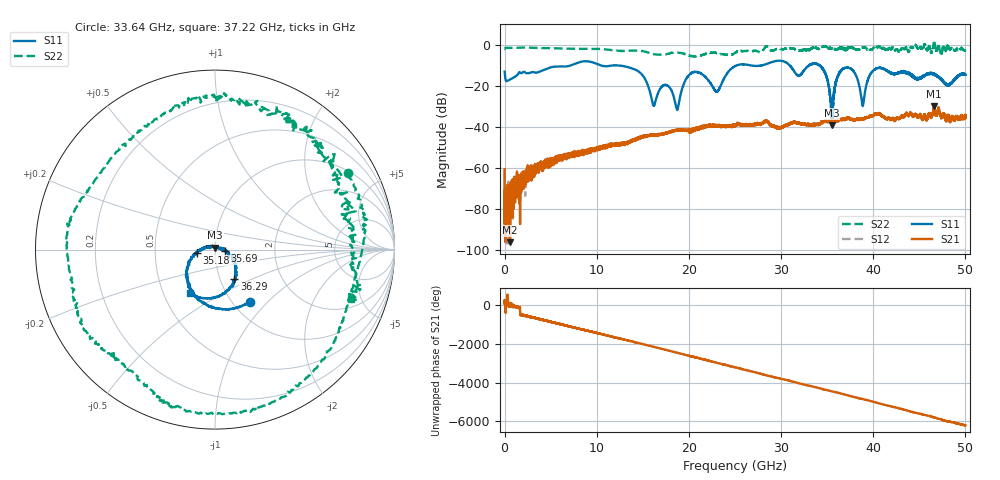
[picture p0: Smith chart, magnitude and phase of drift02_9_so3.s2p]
!Created with skrf (http://scikit-rf.org).
# Hz S RI R 50.0
!freq ReS11 ImS11 ReS21 ImS21 ReS12 ImS12 ReS22 ImS22
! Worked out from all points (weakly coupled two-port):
!   10001 points, 300 kHz to 50 GHz, reference 50 ohm
!   highest |S21| = -29.88 dB at 46.61 GHz (marker M1); lowest = -96.0 dB at 595.3 MHz (marker M2)
!   lowest |S11| = -39.1 dB at 35.5 GHz (marker M3), VSWR 1.02, Z = 50.1 + j1.11 ohm
!   |S11| at or under -10 dB: start of sweep to 7.176 GHz; 12.29 GHz to 25.15 GHz (12.86 GHz wide, 68.7 % of centre); 34.21 GHz to end of sweep (the widest 3 of 17)
!   |S22| runs from -5.7 to 2.1 dB; largest |S21 - S12| = 0.0034
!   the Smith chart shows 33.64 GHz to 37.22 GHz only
!   S11 on the Smith chart (normalised r, x): 33.64 GHz: 1.20, -0.79; 35.18 GHz: 0.82, -0.03; 35.69 GHz: 1.12, -0.02; 36.29 GHz: 1.17, -0.40; 37.22 GHz: 0.68, -0.36
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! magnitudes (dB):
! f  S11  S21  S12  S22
! 300 kHz  -13.0  -60.4  -61.2  -2.1
! 595.3 MHz  -16.9  -96.0  -68.0  -1.5
! 8.335 GHz  -8.2  -52.1  -51.4  -1.9
! 14.02 GHz  -11.7  -46.3  -46.4  -2.8
! 16.14 GHz  -29.3  -43.8  -43.9  -4.4
! 16.67 GHz  -23.2  -43.3  -43.9  -4.7
! 18.73 GHz  -31.4  -41.4  -41.7  -3.7
! 20.24 GHz  -13.8  -41.5  -41.9  -5.4
! 23.03 GHz  -22.7  -39.6  -39.3  -4.1
! 25 GHz  -10.3  -39.6  -39.1  -3.9
! 33.34 GHz  -9.3  -39.0  -38.6  -1.6
! 33.64 GHz  -9.2  -38.7  -38.6  -1.4
! 35.18 GHz  -20.0  -37.0  -37.0  -1.6
! 35.5 GHz  -39.1  -36.9  -36.6  -1.8
! 35.69 GHz  -25.1  -36.6  -36.6  -1.8
! 36.29 GHz  -14.1  -36.6  -36.6  -1.8
! 37.22 GHz  -11.0  -36.2  -35.9  -1.9
! 38.86 GHz  -29.8  -35.9  -36.2  -1.3
! 39.96 GHz  -12.7  -34.4  -34.4  -1.8
! 41.67 GHz  -13.0  -35.6  -35.8  -1.8
! 46.61 GHz  -14.1  -29.9  -30.0  2.1
! 50 GHz  -14.6  -34.1  -34.5  -2.7
